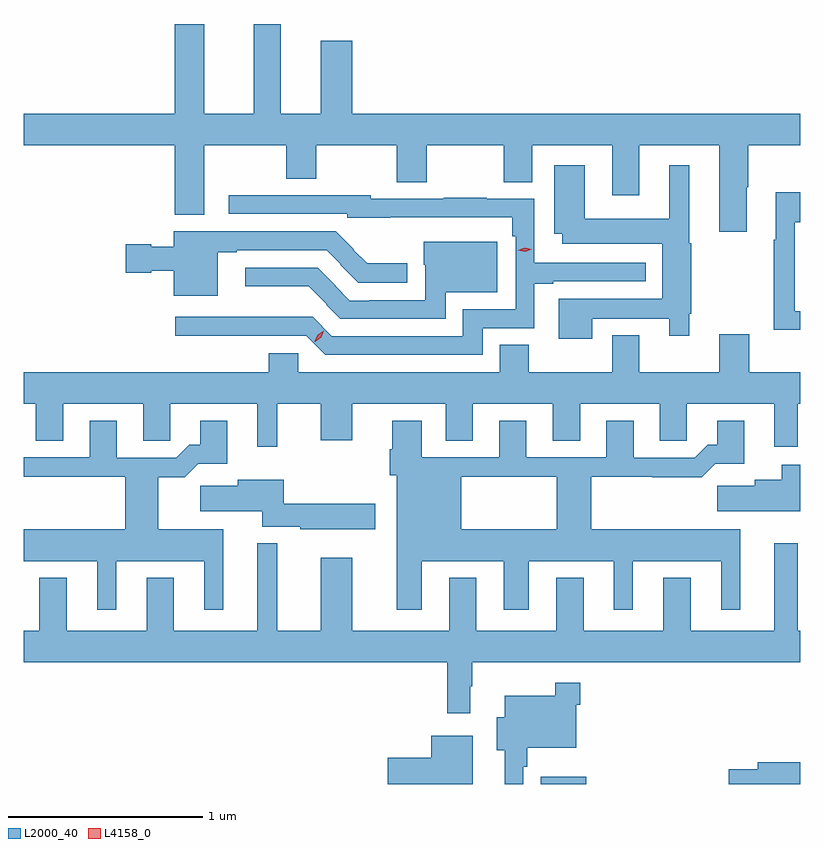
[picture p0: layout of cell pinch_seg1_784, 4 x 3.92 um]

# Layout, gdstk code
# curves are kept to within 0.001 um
import gdstk
lib = gdstk.Library(unit=1e-6, precision=1e-09)
def R(c, l, rs):  # rectangles x0, y0, x1, y1
    for r in rs: c.add(gdstk.rectangle(r[:2], r[2:], *l))
def P(c, l, *ps):  # polygons
    for p in ps: c.add(gdstk.Polygon(p, *l))
L2000_40 = (2000, 40)
L4158_0 = (4158, 0)

pinch_seg1_784 = lib.new_cell('pinch_seg1_784')
R(pinch_seg1_784, L2000_40, [(405.902,577.745,406.138,577.783)])
P(pinch_seg1_784, L2000_40, [(404.423,581.662),(404.423,581.2),(404.167,581.2),(404.167,581.662),(404.015,581.662),(404.015,581.2),(403.239,581.2),(403.239,581.036),(404.015,581.036),(404.015,580.679),(404.167,580.679),(404.167,581.036),(404.59,581.036),(404.59,580.864),(404.745,580.864),(404.745,581.036),(405.16,581.036),(405.16,580.846),(405.315,580.846),(405.315,581.036),(405.712,581.036),(405.712,580.846),(405.859,580.846),(405.859,581.036),(406.271,581.036),(406.271,580.779),(406.411,580.779),(406.411,581.036),(406.823,581.036),(406.823,580.59),(406.963,580.59),(406.963,580.821),(406.971,580.821),(406.971,581.036),(407.239,581.036),(407.239,581.2),(404.932,581.2),(404.932,581.575),(404.768,581.575),(404.768,581.2),(404.563,581.2),(404.563,581.662)],
  [(406.168,580.142),(406.565,580.142),(406.565,580.056),(406.669,580.056),(406.669,580.168),(406.677,580.168),(406.677,580.533),(406.669,580.533),(406.669,580.933),(406.565,580.933),(406.565,580.657),(406.129,580.657),(406.129,580.933),(405.971,580.933),(405.971,580.58),(406.013,580.58),(406.013,580.529),(406.529,580.529),(406.529,580.246),(405.995,580.246),(405.995,580.04),(406.168,580.04)],
  [(407.239,580.182),(407.211,580.182),(407.211,580.639),(407.239,580.639),(407.239,580.795),(407.114,580.795),(407.114,580.55),(407.103,580.55),(407.103,580.085),(407.239,580.085)],
  [(405.604,580.095),(405.87,580.095),(405.87,580.323),(405.967,580.323),(405.967,580.335),(406.444,580.335),(406.444,580.431),(405.871,580.431),(405.87,580.761),(405.623,580.761),(405.623,580.766),(405.403,580.766),(405.403,580.761),(405.027,580.761),(405.027,580.779),(404.295,580.779),(404.295,580.683),(404.904,580.683),(404.904,580.664),(405.755,580.665),(405.755,580.568),(405.774,580.568),(405.774,580.191),(405.5,580.191),(405.5,580.053),(404.826,580.053),(404.727,580.152),(404.019,580.152),(404.019,580.055),(404.694,580.056),(404.793,579.957),(405.604,579.957)],
  [(404.239,580.485),(404.335,580.485),(404.335,580.497),(404.799,580.497),(404.872,580.424),(404.87,580.422),(404.963,580.329),(405.214,580.329),(405.214,580.428),(405.008,580.428),(404.845,580.593),(404.012,580.593),(404.012,580.513),(403.896,580.513),(403.896,580.526),(403.764,580.526),(403.764,580.379),(403.896,580.379),(403.896,580.391),(404.012,580.391),(404.012,580.262),(404.239,580.262)],
  [(405.412,580.28),(405.679,580.28),(405.679,580.54),(405.299,580.54),(405.299,580.422),(405.308,580.422),(405.308,580.239),(405.019,580.239),(405.019,580.236),(404.919,580.236),(404.843,580.312),(404.845,580.314),(404.752,580.407),(404.379,580.407),(404.379,580.31),(404.707,580.31),(404.799,580.218),(404.797,580.216),(404.87,580.143),(405.412,580.143)],
  [(404.545,579.704),(404.768,579.704),(404.768,579.516),(404.932,579.516),(404.932,579.704),(405.413,579.704),(405.413,579.514),(405.553,579.514),(405.553,579.704),(405.965,579.704),(405.965,579.514),(406.105,579.514),(406.105,579.704),(406.517,579.704),(406.517,579.514),(406.656,579.514),(406.656,579.704),(407.105,579.704),(407.105,579.483),(407.227,579.483),(407.227,579.704),(407.239,579.704),(407.239,579.868),(406.976,579.868),(406.976,580.063),(406.823,580.063),(406.823,579.868),(406.411,579.868),(406.411,580.057),(406.271,580.057),(406.271,579.868),(405.84,579.868),(405.84,580.01),(405.692,580.01),(405.692,579.868),(404.652,579.868),(404.652,579.966),(404.501,579.966),(404.501,579.868),(403.239,579.868),(403.239,579.704),(403.301,579.704),(403.301,579.514),(403.441,579.514),(403.441,579.704),(403.853,579.704),(403.853,579.514),(403.992,579.514),(403.992,579.704),(404.441,579.704),(404.441,579.483),(404.545,579.483)],
  [(405.289,578.643),(405.289,578.894),(405.713,578.894),(405.713,578.643),(405.841,578.643),(405.841,578.894),(406.28,578.894),(406.28,578.643),(406.378,578.643),(406.378,578.894),(406.832,578.894),(406.832,578.643),(406.93,578.643),(406.93,579.058),(406.163,579.058),(406.163,579.328),(406.477,579.328),(406.477,579.326),(406.733,579.326),(406.802,579.395),(406.951,579.395),(406.951,579.616),(406.811,579.616),(406.811,579.493),(406.762,579.493),(406.695,579.426),(406.381,579.426),(406.381,579.616),(406.241,579.616),(406.241,579.429),(405.829,579.429),(405.829,579.616),(405.689,579.616),(405.689,579.429),(405.289,579.429),(405.289,579.616),(405.137,579.616),(405.137,579.47),(405.125,579.47),(405.125,579.336),(405.161,579.336),(405.161,579.058),(405.493,579.058),(405.493,579.328),(405.985,579.328),(405.985,579.058),(405.161,579.058),(405.161,578.643)],
  [(403.714,578.894),(404.168,578.894),(404.168,578.643),(404.266,578.643),(404.266,579.058),(403.93,579.058),(403.93,579.326),(404.069,579.326),(404.138,579.395),(404.287,579.395),(404.287,579.616),(404.147,579.616),(404.147,579.493),(404.092,579.493),(404.025,579.426),(403.717,579.426),(403.717,579.616),(403.577,579.616),(403.577,579.429),(403.239,579.429),(403.239,579.328),(403.76,579.328),(403.76,579.058),(403.239,579.058),(403.239,578.894),(403.616,578.894),(403.616,578.643),(403.714,578.643)],
  [(407.239,579.391),(407.145,579.391),(407.145,579.313),(407.006,579.313),(407.006,579.281),(406.812,579.281),(406.812,579.152),(407.239,579.152)],
  [(405.049,579.189),(404.578,579.189),(404.578,579.313),(404.342,579.313),(404.342,579.281),(404.148,579.281),(404.148,579.152),(404.468,579.152),(404.468,579.071),(404.664,579.071),(404.664,579.059),(405.049,579.059)],
  [(405.538,578.249),(405.55,578.249),(405.55,578.372),(407.239,578.372),(407.239,578.536),(407.227,578.536),(407.227,578.986),(407.105,578.986),(407.105,578.536),(406.675,578.536),(406.675,578.809),(406.535,578.809),(406.535,578.536),(406.123,578.536),(406.123,578.809),(405.983,578.809),(405.983,578.536),(405.571,578.536),(405.571,578.809),(405.431,578.809),(405.431,578.536),(404.932,578.536),(404.932,578.911),(404.768,578.911),(404.768,578.536),(404.545,578.536),(404.545,578.986),(404.441,578.986),(404.441,578.536),(404.011,578.536),(404.011,578.809),(403.871,578.809),(403.871,578.536),(403.459,578.536),(403.459,578.809),(403.319,578.809),(403.319,578.536),(403.239,578.536),(403.239,578.372),(405.421,578.372),(405.421,578.109),(405.538,578.109)],
  [(405.813,577.835),(405.833,577.835),(405.833,577.931),(406.086,577.931),(406.086,578.153),(406.106,578.153),(406.106,578.266),(405.978,578.266),(405.978,578.2),(405.716,578.2),(405.716,578.089),(405.677,578.089),(405.677,577.919),(405.716,577.919),(405.716,577.745),(405.813,577.745)],
  [(405.553,577.993),(405.338,577.993),(405.338,577.88),(405.114,577.88),(405.114,577.745),(405.553,577.745)],
  [(407.239,577.856),(407.021,577.856),(407.021,577.82),(406.872,577.82),(406.872,577.745),(407.239,577.745)])
P(pinch_seg1_784, L4158_0, [(405.822,580.489),(405.785,580.496),(405.785,580.496),(405.785,580.496),(405.82,580.509),(405.857,580.502),(405.857,580.501),(405.857,580.501)],
  [(404.739,580.025),(404.739,580.026),(404.754,580.06),(404.785,580.081),(404.785,580.081),(404.785,580.081),(404.77,580.047),(404.74,580.025)])

lib.write_gds('pinch_seg1_784.gds')
